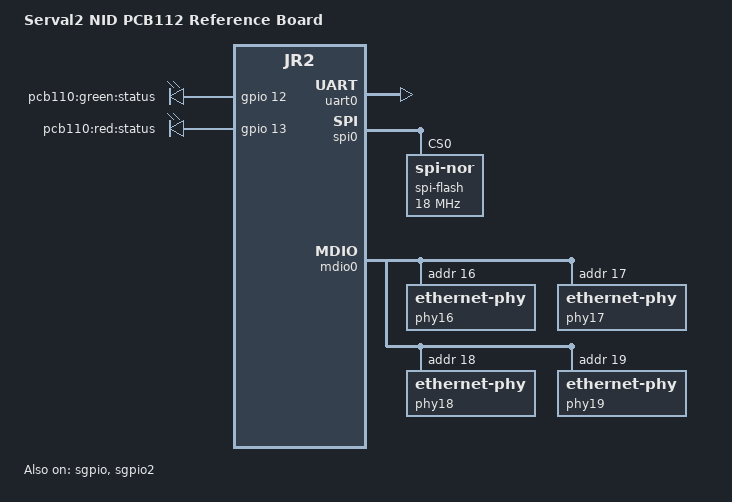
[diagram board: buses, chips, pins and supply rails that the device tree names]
// SPDX-License-Identifier: (GPL-2.0+ OR MIT)
/*
 * Copyright (c) 2018 Microsemi Corporation
 */

/dts-v1/;
#include "mscc,jr2.dtsi"
#include <dt-bindings/mscc/jr2_data.h>

/ {
	model = "Serval2 NID PCB112 Reference Board";
	compatible = "mscc,serval2-pcb110", "mscc,jr2";

	aliases {
		spi0 = &spi0;
		serial0 = &uart0;
	};

	chosen {
		stdout-path = "serial0:115200n8";
	};

	gpio-leds {
		compatible = "gpio-leds";

		status_green {
			label = "pcb110:green:status";
			gpios = <&gpio 12 0>;
			default-state = "on";
		};

		status_red {
			label = "pcb110:red:status";
			gpios = <&gpio 13 0>;
			default-state = "off";
		};
	};
};

&uart0 {
	status = "okay";
};

&spi0 {
	status = "okay";
	spi-flash@0 {
		compatible = "jedec,spi-nor";
		spi-max-frequency = <18000000>; /* input clock */
		reg = <0>; /* CS0 */
	};
};

&sgpio {
	status = "okay";
	sgpio-ports = <0x0000ffff>;
};

&sgpio2 {
	status = "okay";
	sgpio-ports = <0x3fe0ffff>;
};

&mdio0 {
	status = "okay";

	phy16: ethernet-phy@16 {
		reg = <16>;
	};
	phy17: ethernet-phy@17 {
		reg = <17>;
	};
	phy18: ethernet-phy@18 {
		reg = <18>;
	};
	phy19: ethernet-phy@19 {
		reg = <19>;
	};
};

&switch {
	ethernet-ports {

		port0: port@0 {
			reg = <24>;
			phy-handle = <&phy16>;
			phys = <&serdes_hsio 24 SERDES6G(0) PHY_MODE_SGMII>;
		};
		port1: port@1 {
			reg = <25>;
			phy-handle = <&phy17>;
			phys = <&serdes_hsio 25 SERDES6G(1) PHY_MODE_SGMII>;
		};
		port2: port@2 {
			reg = <26>;
			phy-handle = <&phy18>;
			phys = <&serdes_hsio 26 SERDES6G(2) PHY_MODE_SGMII>;
		};
		port3: port@3 {
			reg = <27>;
			phy-handle = <&phy19>;
			phys = <&serdes_hsio 27 SERDES6G(3) PHY_MODE_SGMII>;
		};
	};
};
